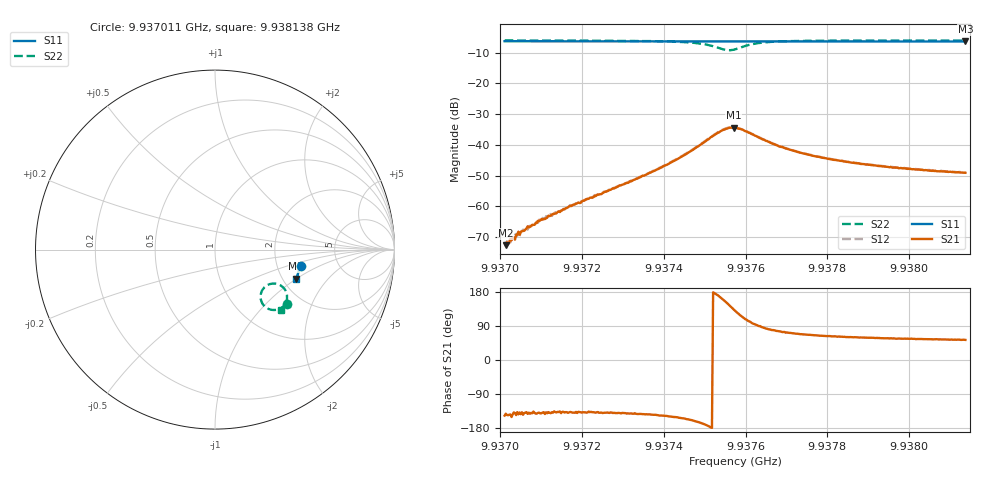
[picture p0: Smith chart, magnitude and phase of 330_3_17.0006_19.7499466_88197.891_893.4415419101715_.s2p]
#  HZ  S  RI  R  50.00
! Rohde & Schwarz Vector Network Analyzer
! Rohde-Schwarz,ZNB20-2Port,1311601062101988,3.16
! Created: UTC 3/20/2024, 11:06:53 PM
! freq[Hz]  re:S11  im:S11  re:S21  im:S21  re:S12  im:S12  re:S22  im:S22
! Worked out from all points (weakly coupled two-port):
!   401 points, 9.937011 GHz to 9.938138 GHz, reference 50 ohm
!   highest |S21| = -34.36 dB at 9.937571 GHz (marker M1); lowest = -72.6 dB at 9.937014 GHz (marker M2)
!   lowest |S11| = -6.4 dB at 9.938138 GHz (marker M3), VSWR 2.85, Z = 118 - j49.6 ohm
!   |S11| at or under -10 dB: nowhere
!   |S22| runs from -9.2 to -6.0 dB; largest |S21 - S12| = 0.0008
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9.9370108e9  0.4764 -0.0888  -0.000211 -0.000138  -0.000218 -0.000131  0.3984 -0.3006
9.9370136e9  0.4765 -0.089  -0.000183 -0.000145  -0.000173 -0.000146  0.3981 -0.3008
9.9370192e9  0.4762 -0.0893  -0.0002 -0.000136  -0.000215 -0.000138  0.3979 -0.3012
9.9370333e9  0.4759 -0.0903  -0.000233 -0.000209  -0.000235 -0.000195  0.3969 -0.3021
9.9370446e9  0.4759 -0.0911  -0.000312 -0.000232  -0.000315 -0.000225  0.3961 -0.3029
9.9370559e9  0.4756 -0.0919  -0.000326 -0.000232  -0.000338 -0.000238  0.3953 -0.3035
9.9370812e9  0.4753 -0.0936  -0.000363 -0.00035  -0.000386 -0.000331  0.3935 -0.3054
9.9370981e9  0.4748 -0.0948  -0.000461 -0.000373  -0.00044 -0.000355  0.3923 -0.3068
9.9371996e9  0.4729 -0.1016  -0.000902 -0.00079  -0.000942 -0.000779  0.3835 -0.3148
9.9373883e9  0.469 -0.1144  -0.00344 -0.00228  -0.00355 -0.00227  0.3525 -0.3327
9.9374503e9  0.4675 -0.1186  -0.00617 -0.00297  -0.00637 -0.00286  0.3266 -0.3366
9.937501e9  0.4659 -0.122  -0.0112 -0.00192  -0.0114 -0.00175  0.2854 -0.3233
9.9375461e9  0.4642 -0.124  -0.0164 0.00652  -0.0165 0.00691  0.2547 -0.2502
9.9375715e9  0.4636 -0.1247  -0.013 0.0141  -0.0127 0.0145  0.2933 -0.1973
9.9375743e9  0.4636 -0.1248  -0.0123 0.0145  -0.0119 0.0151  0.3002 -0.1941
9.937594e9  0.464 -0.1258  -0.00667 0.0163  -0.00631 0.0165  0.3461 -0.1913
9.9376335e9  0.4638 -0.1285  0.000147 0.0131  0.000545 0.0133  0.3926 -0.2275
9.9376842e9  0.4631 -0.1323  0.00233 0.00911  0.00253 0.00915  0.4017 -0.2647
9.9377631e9  0.4614 -0.1378  0.00274 0.00611  0.00287 0.00615  0.3963 -0.2928
9.9378504e9  0.4593 -0.1437  0.00261 0.00461  0.00269 0.00458  0.3883 -0.3089
9.9379518e9  0.4568 -0.1503  0.00238 0.00362  0.00248 0.0037  0.3803 -0.3206
9.9381378e9  0.4519 -0.1621  0.00212 0.00282  0.00215 0.00282  0.3675 -0.3356
